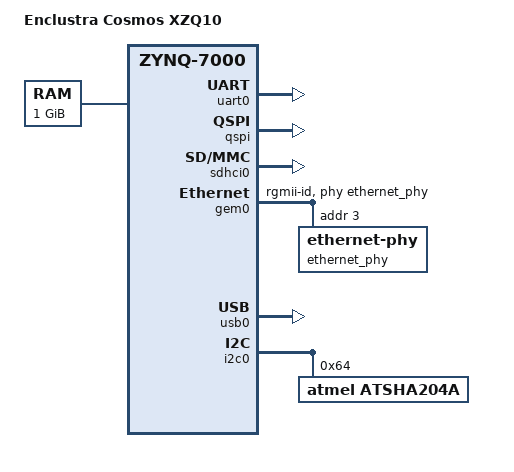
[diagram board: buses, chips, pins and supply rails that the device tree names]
/*
 * Enclustra Cosmos XZQ10 devicetree
 *
 * Copyright (C) 2017 Antmicro Ltd
 *
 * SPDX-License-Identifier:	GPL-2.0+
 */
/dts-v1/;
#include "zynq-7000.dtsi"

/ {
	model = "Enclustra Cosmos XZQ10";
	compatible = "xlnx,zynq-7000";

	aliases {
		ethernet0 = &gem0;
		mmc0 = &sdhci0;
		serial0 = &uart0;
		spi0 = &qspi;
		usb0 = &usb0;
		i2c0 = &i2c0;
	};

	memory {
		device_type = "memory";
		reg = <0 0x40000000>;
	};
};

&uart0 {
	u-boot,dm-pre-reloc;
	status = "okay";
};

&qspi {
	u-boot,dm-pre-reloc;
	status = "okay";
	is-dual = <0>;
	num-cs = <1>;
};

&sdhci0 {
	u-boot,dm-pre-reloc;
	status = "okay";
};

&gem0 {
	u-boot,dm-pre-reloc;
	status = "okay";
	phy-mode = "rgmii-id";
	phy-handle = <&ethernet_phy>;
	ethernet_phy: ethernet-phy@3 {
		reg = <3>;
	};
};

&usb0 {
	status = "okay";
};

&i2c0 {
	status = "okay";
	atsha204a@64 {
		compatible = "atmel,atsha204a";
		reg = <0x64>;
	};
};
